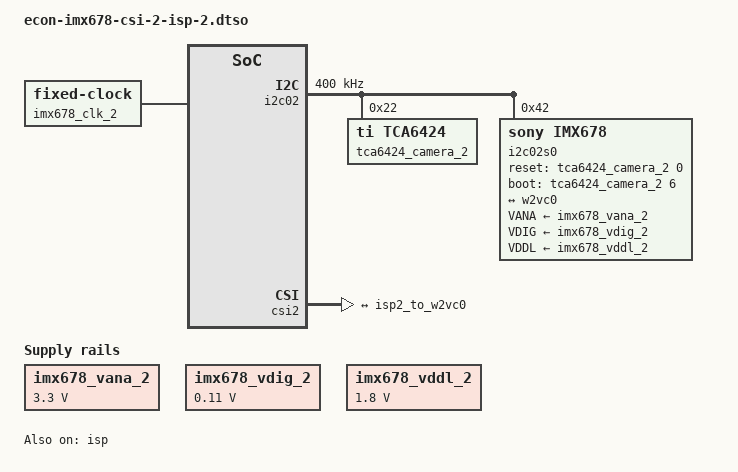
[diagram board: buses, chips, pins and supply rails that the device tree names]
// SPDX-License-Identifier: (GPL-2.0+ OR MIT)
/*
 * Copyright (c) 2024 SiMa ai
 */

/dts-v1/;
/plugin/;

/ {
	fragment@10 {
		target-path = "/"; /* Root node of the base tree */
		__overlay__ {
			imx678_vana_2: csi2_fixedregulator@0 {
				compatible = "regulator-fixed";
				regulator-name = "imx678_vana_2";
				regulator-min-microvolt = <3300000>;
				regulator-max-microvolt = <3300000>;
				enable-active-high;
				startup-delay-us = <300000>;
				regulator-always-on;
			};
			imx678_vdig_2: csi2_fixedregulator@1 {
				compatible = "regulator-fixed";
				regulator-name = "imx678_vdig_2";
				regulator-min-microvolt = <110000>;
				regulator-max-microvolt = <110000>;
				regulator-always-on;
			};
			imx678_vddl_2: csi2_fixedregulator@2 {
				compatible = "regulator-fixed";
				regulator-name = "imx678_vddl_2";
				regulator-min-microvolt = <1800000>;
				regulator-max-microvolt = <1800000>;
				regulator-always-on;
			};
			imx678_clk_2: csi2_camera-clk {
				compatible = "fixed-clock";
				#clock-cells = <0>;
				clock-frequency = <24000000>;
			};
		};
	};
};

&i2c02 {
	status = "okay";
	clock-frequency = <400000>;
	#address-cells = <1>;
	#size-cells = <0>;
	tca6424_camera_2: tca6424@22 {
		compatible = "ti,tca6424";
		gpio-controller;
		#gpio-cells = <2>;
		reg = <0x22>;
		status = "okay";
	};
	i2c02s0: sensor@42 {
		compatible = "sony,imx678";
		reg = <0x42>;
		clocks = <&imx678_clk_2>;
		clock-names = "xclk";
		VANA-supply = <&imx678_vana_2>;
		VDIG-supply = <&imx678_vdig_2>;
		VDDL-supply = <&imx678_vddl_2>;
		reset-gpios = <&tca6424_camera_2 0 0>;
		boot-gpios = <&tca6424_camera_2 6 0>;
		camera_mipi_lanes = <4>;
		cam_fw_name = "imx678_cam_fw.bin";
		i2c02p0: port@1 {
			camera_2: endpoint@0 {
				remote-endpoint = <&w2vc0>;
				data-lanes = <1 2 3 4>;
				clock-lanes = <0>;
				clock-continuous;
				link-frequencies = /bits/ 64 <450000000>;
			};
		};
	};
};

&mipi_dphy_rx2 {
	snps,dphy-frequency = <450000000>;
};

&axi_vdma_vis2 {
	status = "okay";
};

&csi2 {
	status = "okay";
	isp-connected = <1>;
	csi2p0: port@1 {
		reg = <1>;
		w2vc0_to_isp2: endpoint@1 {
			remote-endpoint = <&isp2_to_w2vc0>;
			data-lanes = <1 2 3 4>;
			clock-lanes = <1>;
			clock-continuous;
			link-frequencies = /bits/ 64 <450000000>;
		};
	};
};

&isp {
	status = "okay";
	ports {
		#address-cells = <1>;
		#size-cells = <0>;
		isp2p0: port@2 {
			reg = <2>;
			isp2_to_w2vc0: endpoint@0 {
				remote-endpoint = <&w2vc0_to_isp2>;
			};
			w2vc0: endpoint@1 {
				remote-endpoint = <&camera_2>;
				sensor-id = <2>;
			};
		};
	};
};
